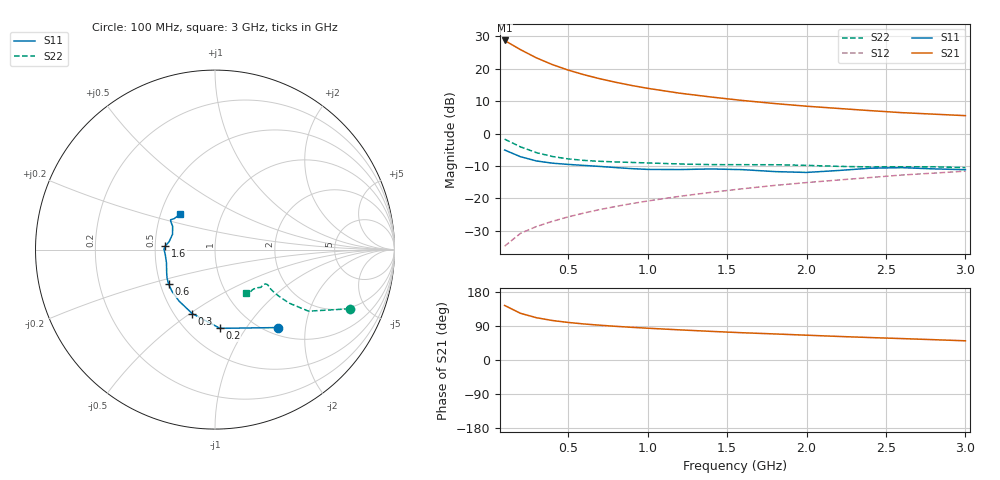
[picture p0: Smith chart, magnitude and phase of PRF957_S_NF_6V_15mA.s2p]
! Philips part #:  PRF957  Date:  Nov 1998
! Bias condition:  Vce=6V, Ic=15mA
#  MHz  S  MA  R 50
! Freq  S11  S21  S12  S22
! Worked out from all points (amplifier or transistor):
!   20 points, 100 MHz to 3 GHz, reference 50 ohm
!   highest |S21| = 28.7 dB at 100 MHz (marker M1)
!   |S21| within 3 dB of that: start of sweep to 206.3 MHz
!   unconditionally stable (mu >= 1): 911.7 MHz to end of sweep
!   at 400 MHz: K = 0.81, MSG = 24.2 dB, |S12| = -27.1 dB
!   at 1.2 GHz: K = 1.03, MAG = 14.8 dB, |S12| = -19.4 dB
!   at 3 GHz: K = 1.03, MAG = 7.5 dB, |S12| = -11.6 dB
!   lowest NFmin = 1.44 dB at 500 MHz
!   S11 on the Smith chart (normalised r, x): 100 MHz: 1.13, -1.42; 200 MHz: 0.71, -0.77; 300 MHz: 0.61, -0.51; 600 MHz: 0.55, -0.24; 1.6 GHz: 0.57, +0.02; 3 GHz: 0.63, +0.27
100  0.5582 -51.1  27.37 144.0  0.0183 70.1  0.8205 -23.7
200  0.4396 -86.4  19.74 123.2  0.02888 64.2  0.6239 -33.4
300  0.3783 -109.6  14.75 111.6  0.03678 64.0  0.5083 -35.9
400  0.3497 -125.1  11.62 104.3  0.04422 65.7  0.4435 -36.1
500  0.3343 -135.6  9.549 99.1  0.05181 67.6  0.4068 -35.9
600  0.3227 -143.2  8.095 95.1  0.05947 69.2  0.3855 -35.5
700  0.3112 -149.0  7.015 91.8  0.06724 70.5  0.3733 -35.0
800  0.2989 -154.3  6.189 88.9  0.07509 71.6  0.3654 -34.5
900  0.2877 -159.6  5.525 86.2  0.08307 72.5  0.3587 -34.0
1000  0.28 -165.0  4.996 83.9  0.09114 73.1  0.3524 -33.7
1200  0.2785 -174.5  4.209 79.6  0.1075 73.8  0.3399 -34.1
1400  0.2846 179.6  3.666 75.5  0.124 74.1  0.3319 -36.2
1600  0.2776 175.9  3.24 71.9  0.141 74.2  0.3311 -38.4
1800  0.2591 170.0  2.907 68.8  0.1585 74.0  0.3305 -39.6
2000  0.2515 160.1  2.646 65.5  0.1753 73.8  0.3236 -40.8
2200  0.2692 151.2  2.444 62.2  0.192 73.4  0.3121 -43.3
2400  0.292 147.5  2.262 59.3  0.2098 72.7  0.3058 -47.1
2600  0.298 146.1  2.104 56.5  0.2293 71.9  0.3072 -50.6
2800  0.2853 142.8  1.995 53.6  0.2454 71.5  0.3067 -52.6
3000  0.2774 135.1  1.892 50.7  0.263 71.0  0.2986 -54.6
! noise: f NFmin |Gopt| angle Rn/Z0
500  1.44  0.08  43  0.15
800  1.57  0.14  98  0.2
900  1.72  0.17  102  0.14
1000  1.71  0.17  96  0.225
1500  1.69  0.31  133  0.13
2000  2.05  0.29  -155  0.16
